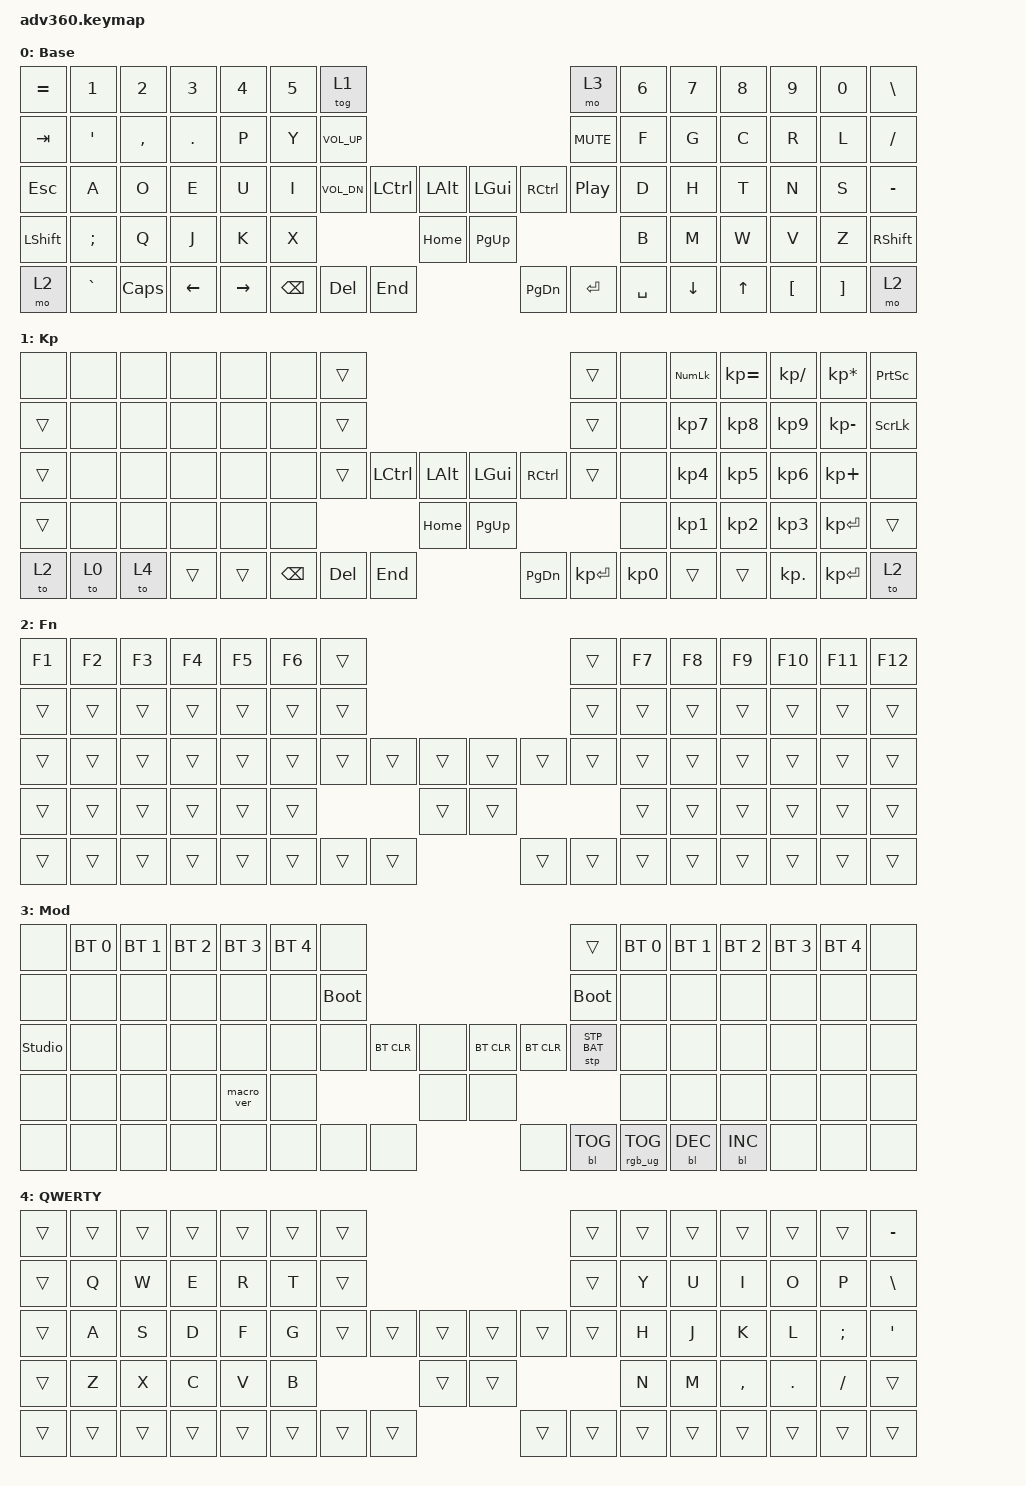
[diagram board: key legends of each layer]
#include <behaviors.dtsi>
#include <dt-bindings/zmk/keys.h>
#include <dt-bindings/zmk/bt.h>
#include <dt-bindings/zmk/rgb.h>
#include <dt-bindings/zmk/stp.h>
#include <dt-bindings/zmk/backlight.h>
#include <dt-bindings/zmk/pointing.h>

/ {
    behaviors {
      #include "macros.dtsi"
      #include "version.dtsi"

      hm: homerow_mods {
          compatible = "zmk,behavior-hold-tap";
          label = "HOMEROW_MODS";
          #binding-cells = <2>;
          tapping-term-ms = <200>;
          quick_tap_ms = <175>;
          flavor = "tap-preferred";
          bindings = <&kp>, <&kp>;
      };
    };

  keymap {
    compatible = "zmk,keymap";

    default_layer {
      display-name = "Base";
      bindings = <
        &kp EQUAL &kp N1    &kp N2    &kp N3   &kp N4    &kp N5 &tog 1                                                                 &mo 3            &kp N6 &kp N7   &kp N8 &kp N9   &kp N0   &kp BSLH
        &kp TAB   &kp SQT   &kp COMMA &kp DOT  &kp P     &kp Y  &kp C_VOL_UP                                                           &kp C_MUTE       &kp F  &kp G    &kp C  &kp R    &kp L    &kp FSLH
        &kp ESC   &kp A     &kp O     &kp E    &kp U     &kp I  &kp C_VOL_DN          &kp LCTRL &kp LALT &kp LGUI  &kp RCTRL           &kp C_PLAY_PAUSE &kp D  &kp H    &kp T  &kp N    &kp S    &kp MINUS
        &kp LSHFT &kp SEMI  &kp Q     &kp J    &kp K     &kp X                                  &kp HOME &kp PG_UP                                      &kp B  &kp M    &kp W  &kp V    &kp Z    &kp RSHFT
        &mo 2     &kp GRAVE &kp CAPS  &kp LEFT &kp RIGHT                     &kp BSPC &kp DEL   &kp END  &kp PG_DN &kp ENTER &kp SPACE                         &kp DOWN &kp UP &kp LBKT &kp RBKT &mo 2
      >;
    };
    keypad {
      display-name = "Kp";
      bindings = <
        &none  &none &none &none  &none  &none &trans                                                              &trans    &none &kp KP_NUM &kp KP_EQUAL &kp KP_DIVIDE &kp KP_MULTIPLY &kp PRINTSCREEN
        &trans &none &none &none  &none  &none &trans                                                              &trans    &none &kp KP_N7  &kp KP_N8    &kp KP_N9     &kp KP_MINUS    &kp SCROLLLOCK
        &trans &none &none &none  &none  &none &trans          &kp LCTRL &kp LALT &kp LGUI  &kp RCTRL              &trans    &none &kp KP_N4  &kp KP_N5    &kp KP_N6     &kp KP_PLUS     &none
        &trans &none &none &none  &none  &none                           &kp HOME &kp PG_UP                                  &none &kp KP_N1  &kp KP_N2    &kp KP_N3     &kp KP_ENTER    &trans
        &to 2  &to 0 &to 4 &trans &trans              &kp BSPC &kp DEL   &kp END  &kp PG_DN &kp KP_ENTER &kp KP_N0                 &trans     &trans       &kp KP_DOT    &kp KP_ENTER    &to 2
      >;
    };
    fn {
      display-name = "Fn";
      bindings = <
        &kp F1 &kp F2 &kp F3 &kp F4 &kp F5 &kp F6 &trans                                           &trans &kp F7 &kp F8 &kp F9 &kp F10 &kp F11 &kp F12
        &trans &trans &trans &trans &trans &trans &trans                                           &trans &trans &trans &trans &trans  &trans  &trans
        &trans &trans &trans &trans &trans &trans &trans        &trans &trans &trans &trans        &trans &trans &trans &trans &trans  &trans  &trans
        &trans &trans &trans &trans &trans &trans                      &trans &trans                      &trans &trans &trans &trans  &trans  &trans
        &trans &trans &trans &trans &trans               &trans &trans &trans &trans &trans &trans               &trans &trans &trans  &trans  &trans
      >;
    };
    mod {
      display-name = "Mod";
      bindings = <
        &none          &bt BT_SEL 0 &bt BT_SEL 1 &bt BT_SEL 2 &bt BT_SEL 3 &bt BT_SEL 4 &none                                                                    &trans       &bt BT_SEL 0 &bt BT_SEL 1 &bt BT_SEL 2 &bt BT_SEL 3 &bt BT_SEL 4 &none
        &none          &none        &none        &none        &none        &none        &bootloader                                                              &bootloader  &none        &none        &none        &none        &none        &none
        &studio_unlock &none        &none        &none        &none        &none        &none             &bt BT_CLR &none &bt BT_CLR &bt BT_CLR                 &stp STP_BAT &none        &none        &none        &none        &none        &none
        &none          &none        &none        &none        &macro_ver   &none                                     &none &none                                              &none        &none        &none        &none        &none        &none
        &none          &none        &none        &none        &none                                 &none &none      &none &none      &bl BL_TOG &rgb_ug RGB_TOG                           &bl BL_DEC   &bl BL_INC   &none        &none        &none
      >;
    };
    QWERTY {
      display-name = "QWERTY";
      bindings = <
        &trans &trans &trans &trans &trans &trans &trans                                           &trans &trans &trans &trans    &trans  &trans   &kp MINUS
        &trans &kp Q  &kp W  &kp E  &kp R  &kp T  &trans                                           &trans &kp Y  &kp U  &kp I     &kp O   &kp P    &kp BSLH
        &trans &kp A  &kp S  &kp D  &kp F  &kp G  &trans        &trans &trans &trans &trans        &trans &kp H  &kp J  &kp K     &kp L   &kp SEMI &kp SQT
        &trans &kp Z  &kp X  &kp C  &kp V  &kp B                       &trans &trans                      &kp N  &kp M  &kp COMMA &kp DOT &kp FSLH &trans
        &trans &trans &trans &trans &trans               &trans &trans &trans &trans &trans &trans               &trans &trans    &trans  &trans   &trans
      >;
    };
    extra1 { 
      display-name = "Red";    
      status = "reserved";
    };

    extra2 { 
      display-name = "Purple";    
      status = "reserved";
    };

    extra3 { 
      display-name = "Cyan";    
      status = "reserved";
    };

    extra4 { 
      display-name = "Yellow";    
      status = "reserved";
    };
  };
};
